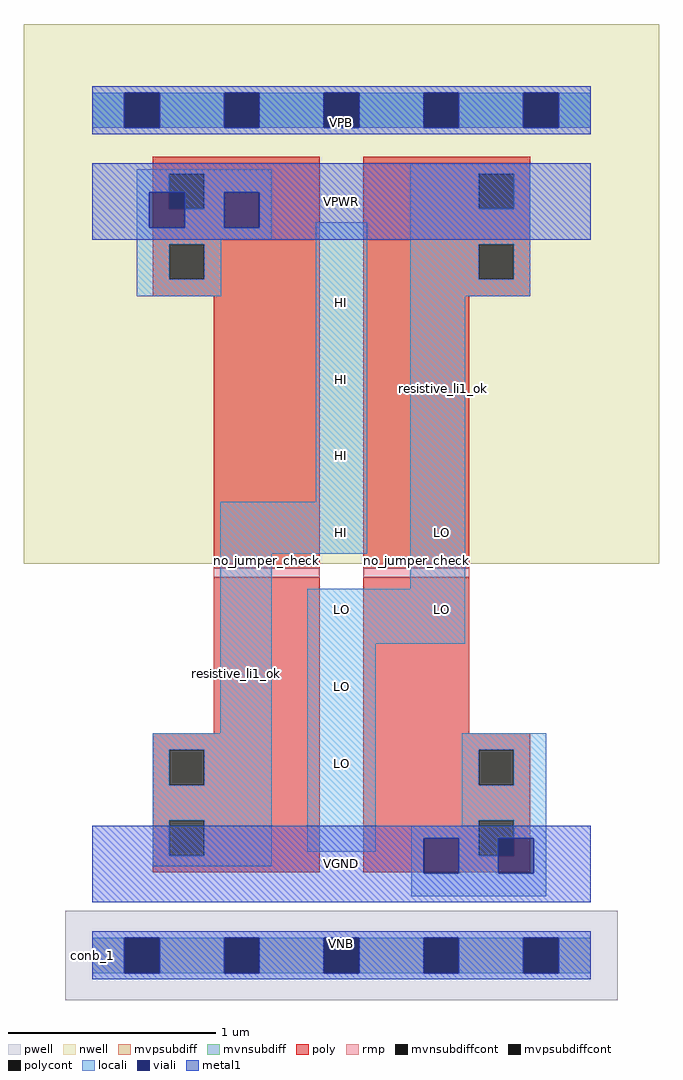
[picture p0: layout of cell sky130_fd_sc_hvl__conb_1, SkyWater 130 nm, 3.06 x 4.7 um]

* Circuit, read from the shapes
.subckt sky130_fd_sc_hvl__conb_1 VGND VNB VPB VPWR HI LO
R1 VPWR HI sky130_fd_pr__res_generic_po w=0.51 l=0.045
R2 LO VGND sky130_fd_pr__res_generic_po w=0.51 l=0.045
.ends

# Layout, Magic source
magic
tech sky130A
magscale 1 2
<< nwell >>
rect -66 377 546 897
<< pwell >>
rect -26 -43 506 43
<< mvpsubdiff >>
rect 0 -17 31 17
rect 65 -17 127 17
rect 161 -17 223 17
rect 257 -17 319 17
rect 353 -17 415 17
rect 449 -17 480 17
<< mvnsubdiff >>
rect 0 797 31 831
rect 65 797 127 831
rect 161 797 223 831
rect 257 797 319 831
rect 353 797 415 831
rect 449 797 480 831
<< mvpsubdiffcont >>
rect 31 -17 65 17
rect 127 -17 161 17
rect 223 -17 257 17
rect 319 -17 353 17
rect 415 -17 449 17
<< mvnsubdiffcont >>
rect 31 797 65 831
rect 127 797 161 831
rect 223 797 257 831
rect 319 797 353 831
rect 415 797 449 831
<< poly >>
rect 58 753 219 769
rect 58 719 74 753
rect 108 719 219 753
rect 58 685 219 719
rect 58 651 74 685
rect 108 651 219 685
rect 58 635 219 651
rect 117 373 219 635
rect 117 214 219 364
rect 58 198 219 214
rect 58 164 74 198
rect 108 164 219 198
rect 58 130 219 164
rect 58 96 74 130
rect 108 96 219 130
rect 58 80 219 96
rect 261 753 422 769
rect 261 719 372 753
rect 406 719 422 753
rect 261 685 422 719
rect 261 651 372 685
rect 406 651 422 685
rect 261 635 422 651
rect 261 373 363 635
rect 261 214 363 364
rect 261 198 422 214
rect 261 164 372 198
rect 406 164 422 198
rect 261 130 422 164
rect 261 96 372 130
rect 406 96 422 130
rect 261 80 422 96
<< polycont >>
rect 74 719 108 753
rect 74 651 108 685
rect 74 164 108 198
rect 74 96 108 130
rect 372 719 406 753
rect 372 651 406 685
rect 372 164 406 198
rect 372 96 406 130
<< rmp >>
rect 117 364 219 373
rect 261 364 363 373
<< locali >>
rect 0 797 31 831
rect 65 797 127 831
rect 161 797 223 831
rect 257 797 319 831
rect 353 797 415 831
rect 449 797 480 831
rect 43 753 173 757
rect 43 735 74 753
rect 108 735 173 753
rect 43 701 55 735
rect 108 719 127 735
rect 89 701 127 719
rect 161 701 173 735
rect 306 753 422 763
rect 306 719 372 753
rect 406 719 422 753
rect 43 689 173 701
rect 43 685 124 689
rect 43 651 74 685
rect 108 651 124 685
rect 43 635 124 651
rect 215 437 265 706
rect 123 387 265 437
rect 306 685 422 719
rect 306 651 372 685
rect 406 651 422 685
rect 306 635 422 651
rect 123 214 173 387
rect 306 353 359 635
rect 58 198 173 214
rect 58 164 74 198
rect 108 164 173 198
rect 58 130 173 164
rect 58 96 74 130
rect 108 96 173 130
rect 207 300 359 353
rect 207 100 273 300
rect 356 198 437 214
rect 356 164 372 198
rect 406 164 437 198
rect 356 130 437 164
rect 356 125 372 130
rect 307 113 372 125
rect 406 113 437 130
rect 58 86 173 96
rect 307 79 319 113
rect 353 96 372 113
rect 353 79 391 96
rect 425 79 437 113
rect 307 57 437 79
rect 0 -17 31 17
rect 65 -17 127 17
rect 161 -17 223 17
rect 257 -17 319 17
rect 353 -17 415 17
rect 449 -17 480 17
<< viali >>
rect 31 797 65 831
rect 127 797 161 831
rect 223 797 257 831
rect 319 797 353 831
rect 415 797 449 831
rect 55 719 74 735
rect 74 719 89 735
rect 55 701 89 719
rect 127 701 161 735
rect 319 79 353 113
rect 391 96 406 113
rect 406 96 425 113
rect 391 79 425 96
rect 31 -17 65 17
rect 127 -17 161 17
rect 223 -17 257 17
rect 319 -17 353 17
rect 415 -17 449 17
<< metal1 >>
rect 0 831 480 837
rect 0 797 31 831
rect 65 797 127 831
rect 161 797 223 831
rect 257 797 319 831
rect 353 797 415 831
rect 449 797 480 831
rect 0 791 480 797
rect 0 735 480 763
rect 0 701 55 735
rect 89 701 127 735
rect 161 701 480 735
rect 0 689 480 701
rect 0 113 480 125
rect 0 79 319 113
rect 353 79 391 113
rect 425 79 480 113
rect 0 51 480 79
rect 0 17 480 23
rect 0 -17 31 17
rect 65 -17 127 17
rect 161 -17 223 17
rect 257 -17 319 17
rect 353 -17 415 17
rect 449 -17 480 17
rect 0 -23 480 -17
<< labels >>
rlabel comment s 0 0 0 0 4 conb_1
flabel comment s 139 271 139 271 0 FreeSans 200 90 0 0 resistive_li1_ok
flabel comment s 338 546 338 546 0 FreeSans 200 90 0 0 resistive_li1_ok
flabel comment s 312 380 312 380 0 FreeSans 200 90 0 0 no_jumper_check
flabel comment s 168 380 168 380 0 FreeSans 200 90 0 0 no_jumper_check
flabel metal1 s 0 51 480 125 0 FreeSans 340 0 0 0 VGND
port 1 nsew ground bidirectional
flabel metal1 s 0 0 480 23 0 FreeSans 340 0 0 0 VNB
port 2 nsew ground bidirectional
flabel metal1 s 0 689 480 763 0 FreeSans 340 0 0 0 VPWR
port 4 nsew power bidirectional
flabel metal1 s 0 791 480 814 0 FreeSans 340 0 0 0 VPB
port 3 nsew power bidirectional
flabel locali s 319 316 353 350 0 FreeSans 340 0 0 0 LO
port 6 nsew signal output
flabel locali s 319 390 353 424 0 FreeSans 340 0 0 0 LO
port 6 nsew signal output
flabel locali s 223 390 257 424 0 FreeSans 340 0 0 0 HI
port 5 nsew signal output
flabel locali s 223 464 257 498 0 FreeSans 340 0 0 0 HI
port 5 nsew signal output
flabel locali s 223 242 257 276 0 FreeSans 340 0 0 0 LO
port 6 nsew signal output
flabel locali s 223 168 257 202 0 FreeSans 340 0 0 0 LO
port 6 nsew signal output
flabel locali s 223 538 257 572 0 FreeSans 340 0 0 0 HI
port 5 nsew signal output
flabel locali s 223 612 257 646 0 FreeSans 340 0 0 0 HI
port 5 nsew signal output
flabel locali s 223 316 257 350 0 FreeSans 340 0 0 0 LO
port 6 nsew signal output
<< properties >>
string FIXED_BBOX 0 0 480 814
string GDS_END 966728
string GDS_FILE $PDKPATH/libs.ref/sky130_fd_sc_hvl/gds/sky130_fd_sc_hvl.gds
string GDS_START 959918
string LEFclass CORE
string LEFsite unithv
string LEFsymmetry X Y
<< end >>
